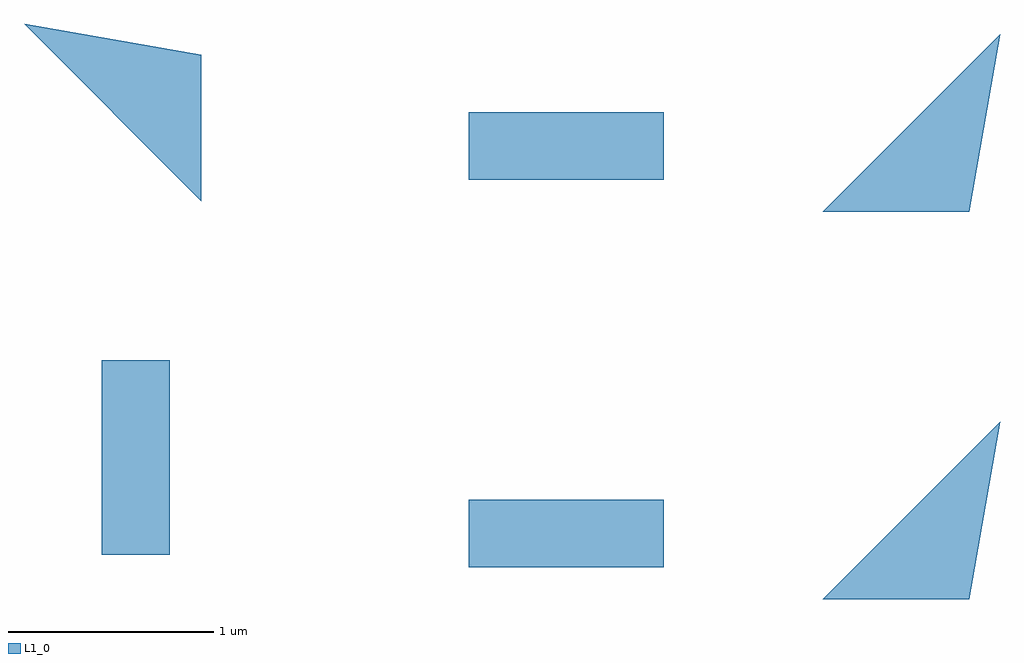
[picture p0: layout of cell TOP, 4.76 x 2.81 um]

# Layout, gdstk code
from math import pi, radians
import gdstk
lib = gdstk.Library(unit=1e-6, precision=1e-09)
def R(c, l, rs):  # rectangles x0, y0, x1, y1
    for r in rs: c.add(gdstk.rectangle(r[:2], r[2:], *l))
def P(c, l, *ps):  # polygons
    for p in ps: c.add(gdstk.Polygon(p, *l))
L1_0 = (1, 0)

c_c = lib.new_cell('C')
R(c_c, L1_0, [(-1.54,0.4,-0.59,0.73)])
P(c_c, L1_0, [(0.185,0.245),(1.05,1.11),(0.9,0.245)])

top = lib.new_cell('TOP')
top.add(gdstk.Reference(c_c, (0.07,0.18)))
top.add(gdstk.Reference(c_c, (-2.53,2.18), rotation=pi/2))
top.add(gdstk.Reference(c_c, (0.07,2.07)))

lib.write_gds('TOP.gds')
